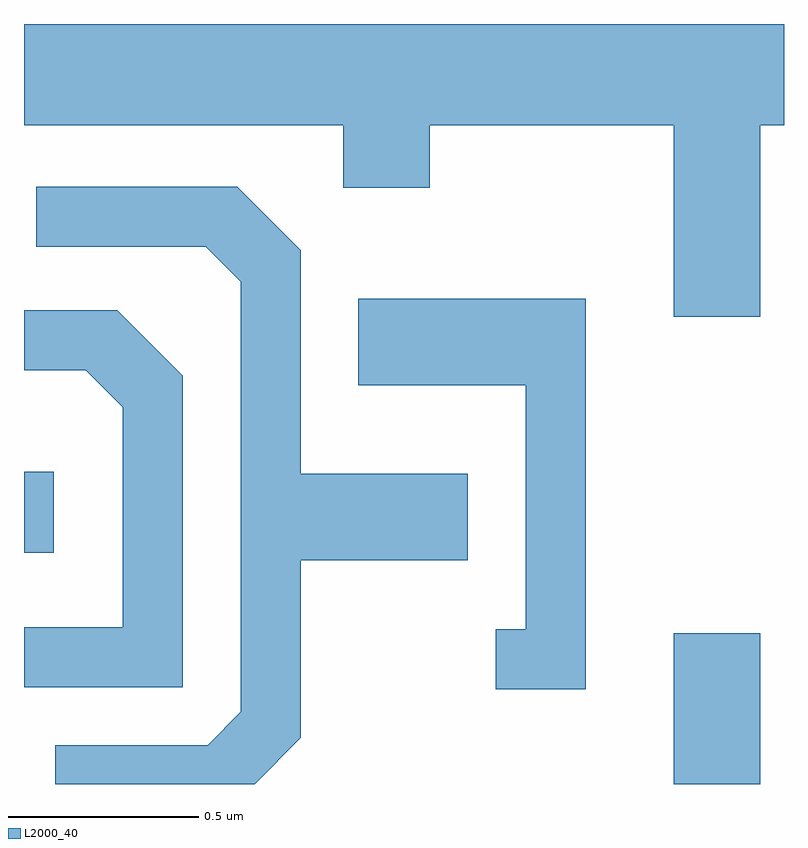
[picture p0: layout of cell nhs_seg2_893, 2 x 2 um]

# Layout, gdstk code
import gdstk
lib = gdstk.Library(unit=1e-6, precision=1e-09)
def R(c, l, rs):  # rectangles x0, y0, x1, y1
    for r in rs: c.add(gdstk.rectangle(r[:2], r[2:], *l))
def P(c, l, *ps):  # polygons
    for p in ps: c.add(gdstk.Polygon(p, *l))
L2000_40 = (2000, 40)

nhs_seg2_893 = lib.new_cell('nhs_seg2_893')
R(nhs_seg2_893, L2000_40, [(193.321,1048.802,193.549,1049.199), (191.611,1049.411,191.689,1049.624)])
P(nhs_seg2_893, L2000_40, [(193.549,1050.536),(193.611,1050.536),(193.611,1050.802),(191.611,1050.802),(191.611,1050.536),(192.451,1050.536),(192.451,1050.371),(192.679,1050.371),(192.679,1050.536),(193.321,1050.536),(193.321,1050.031),(193.549,1050.031)],
  [(192.339,1048.924),(192.339,1049.391),(192.779,1049.391),(192.779,1049.619),(192.339,1049.619),(192.339,1050.207),(192.172,1050.374),(191.643,1050.374),(191.643,1050.216),(192.089,1050.216),(192.181,1050.124),(192.181,1048.992),(192.094,1048.904),(191.693,1048.904),(191.693,1048.802),(192.218,1048.802)],
  [(193.089,1050.079),(192.491,1050.079),(192.491,1049.851),(192.931,1049.851),(192.931,1049.209),(192.853,1049.209),(192.853,1049.051),(193.089,1049.051)],
  [(192.029,1049.877),(191.857,1050.049),(191.611,1050.049),(191.611,1049.891),(191.774,1049.891),(191.871,1049.794),(191.871,1049.214),(191.611,1049.214),(191.611,1049.056),(192.029,1049.056)])

lib.write_gds('nhs_seg2_893.gds')
